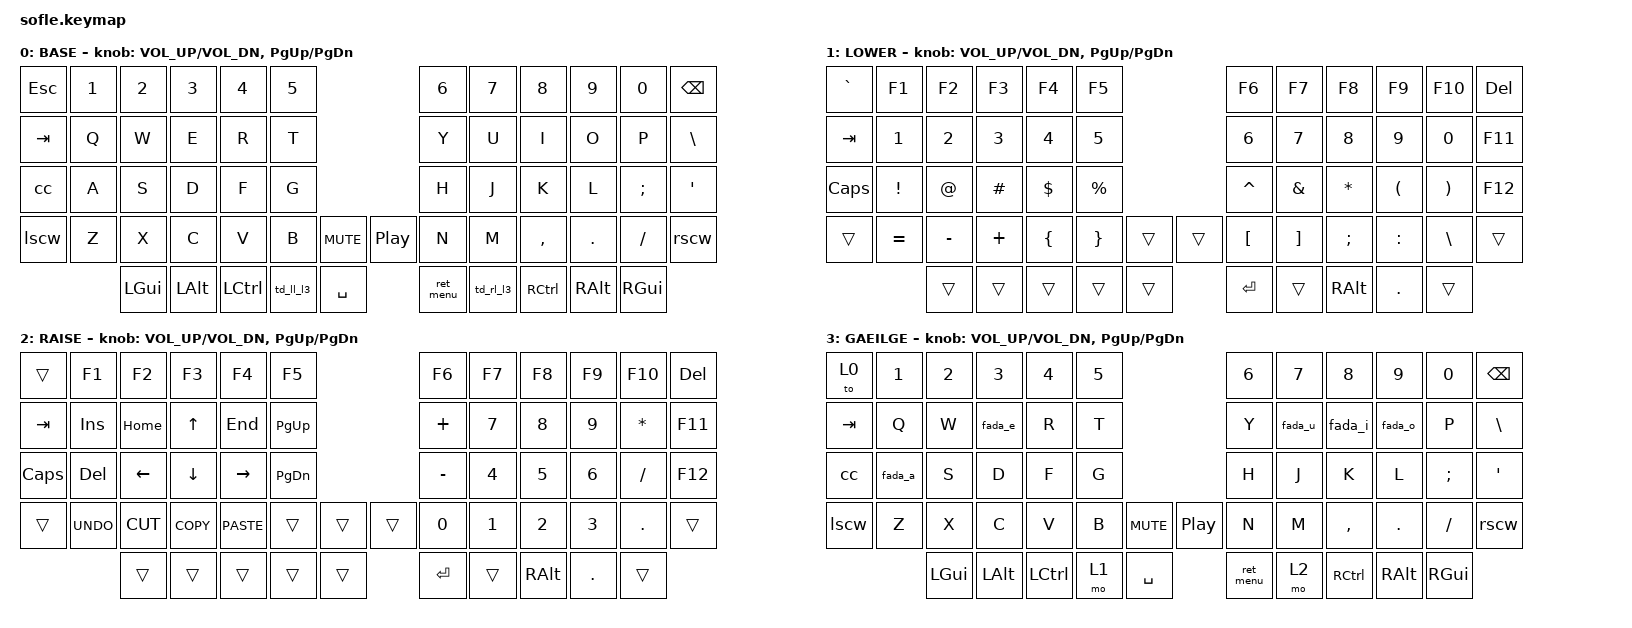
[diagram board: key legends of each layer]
/*
 * Copyright (c) 2020 The ZMK Contributors
 *
 * SPDX-License-Identifier: MIT
 */

#include <behaviors.dtsi>
#include <dt-bindings/zmk/keys.h>
#include <dt-bindings/zmk/bt.h>
#include <dt-bindings/zmk/rgb.h>
#include <dt-bindings/zmk/outputs.h>

/ {
    sensors {
        compatible = "zmk,keymap-sensors";
        sensors = <&left_encoder &right_encoder>;
        triggers-per-rotation = <30>;
    };

    macros {
        tm: tm {
            compatible = "zmk,behavior-macro";
            #binding-cells = <0>;
            bindings = <&kp LS(T) &kp M>;
        };
        cad: cad {
            compatible = "zmk,behavior-macro";
            #binding-cells = <0>;
            bindings = <&kp LC(LA(DEL))>;
        };
        slp: slp {
            compatible = "zmk,behavior-macro";
            #binding-cells = <0>;
            bindings = <&kp LG(X) &kp U &kp S>;
        };
        rst: rst {
            compatible = "zmk,behavior-macro";
            #binding-cells = <0>;
            bindings = <&kp LG(X) &kp U &kp R>;
        };
        off: off {
            compatible = "zmk,behavior-macro";
            #binding-cells = <0>;
            bindings = <&kp LG(X) &kp U &kp U>;
        };
        teams_mute: teams_mute {
            compatible = "zmk,behavior-macro";
            #binding-cells = <0>;
            bindings = <&kp LC(LS(M))>;
        };
        tab_right: tab_right {
            compatible = "zmk,behavior-macro";
            #binding-cells = <0>;
            bindings = <&kp LC(TAB)>;
        };
        tab_left: tab_left {
            compatible = "zmk,behavior-macro";
            #binding-cells = <0>;
            bindings = <&kp LC(LS(TAB))>;
        };
        close_tab: close_tab {
            compatible = "zmk,behavior-macro";
            #binding-cells = <0>;
            bindings = <&kp LC(W)>;
        };
        fada_a: fada_a {
            compatible = "zmk,behavior-macro";
            #binding-cells = <0>;
            bindings = <&kp LA(E) &kp A>;
        };
        fada_e: fada_e {
            compatible = "zmk,behavior-macro";
            #binding-cells = <0>;
            bindings = <&kp LA(E) &kp E>;
        };
        fada_i: fada_i {
            compatible = "zmk,behavior-macro";
            #binding-cells = <0>;
            bindings = <&kp LA(E) &kp I>;
        };
        fada_o: fada_o {
            compatible = "zmk,behavior-macro";
            #binding-cells = <0>;
            bindings = <&kp LA(E) &kp O>;
        };
        fada_u: fada_u {
            compatible = "zmk,behavior-macro";
            #binding-cells = <0>;
            bindings = <&kp LA(E) &kp U>;
        };
        umlaut_a: umlaut_a {
            compatible = "zmk,behavior-macro";
            #binding-cells = <0>;
            bindings = <&kp LA(U) &kp A>;
        };
        umlaut_e: umlaut_e {
            compatible = "zmk,behavior-macro";
            #binding-cells = <0>;
            bindings = <&kp LA(U) &kp E>;
        };
        umlaut_i: umlaut_i {
            compatible = "zmk,behavior-macro";
            #binding-cells = <0>;
            bindings = <&kp LA(U) &kp I>;
        };
        umlaut_o: umlaut_o {
            compatible = "zmk,behavior-macro";
            #binding-cells = <0>;
            bindings = <&kp LA(U) &kp O>;
        };
        umlaut_u: umlaut_u {
            compatible = "zmk,behavior-macro";
            #binding-cells = <0>;
            bindings = <&kp LA(U) &kp U>;
        };
        ogonek_a: ogonek_a {
            compatible = "zmk,behavior-macro";
            #binding-cells = <0>;
            bindings = <&kp LA(A)>;
        };
        ogonek_e: ogonek_e {
            compatible = "zmk,behavior-macro";
            #binding-cells = <0>;
            bindings = <&kp LA(APOS)>;
        };
        eszett: eszett {
            compatible = "zmk,behavior-macro";
            #binding-cells = <0>;
            bindings = <&kp LA(S)>;
        };
        ntilde: ntilde {
            compatible = "zmk,behavior-macro";
            #binding-cells = <0>;
            bindings = <&kp LA(N) &kp N>;
        };
    };

    combos {
        compatible = "zmk,combos";
        combo_esc {
            timeout-ms = <50>;
            key-positions = <0 1>;
            bindings = <&kp ESC>;
        };
    };

    behaviors {
        rgb_inc: rgb_inc {
            compatible = "zmk,behavior-mod-morph";
            #binding-cells = <0>;
            bindings = <&rgb_ug RGB_BRI>, <&rgb_ug RGB_SAI>;
            mods = <(MOD_LSFT|MOD_RSFT)>;
        };
        rgb_dec: rgb_dec {
            compatible = "zmk,behavior-mod-morph";
            #binding-cells = <0>;
            bindings = <&rgb_ug RGB_BRD>, <&rgb_ug RGB_SAD>;
            mods = <(MOD_LSFT|MOD_RSFT)>;
        };
        ret_menu: ret_menu {
            compatible = "zmk,behavior-mod-morph";
            #binding-cells = <0>;
            bindings = <&kp RET>, <&kp K_APP>;
            mods = <(MOD_LSFT|MOD_RSFT)>;
        };
        td_btr: td_btr {
            compatible = "zmk,behavior-tap-dance";
            #binding-cells = <0>;
            tapping-term-ms = <200>;
            bindings = <&bt BT_NXT>, <&bt BT_PRV>;
        };
        cc: cc {
            compatible = "zmk,behavior-tap-dance";
            #binding-cells = <0>;
            tapping-term-ms = <200>;
            bindings = <&kp LCTRL>, <&caps_word>;
        };
        clcw: clcw {
            compatible = "zmk,behavior-tap-dance";
            #binding-cells = <0>;
            tapping-term-ms = <200>;
            bindings = <&kp CAPS>, <&caps_word>;
        };
        lscw: lscw {
            compatible = "zmk,behavior-tap-dance";
            #binding-cells = <0>;
            tapping-term-ms = <200>;
            bindings = <&kp LSHFT>, <&caps_word>;
        };
        rscw: rscw {
            compatible = "zmk,behavior-tap-dance";
            #binding-cells = <0>;
            tapping-term-ms = <200>;
            bindings = <&kp RSHFT>, <&caps_word>;
        };
        stm: stm {
            compatible = "zmk,behavior-tap-dance";
            #binding-cells = <0>;
            tapping-term-ms = <200>;
            bindings = <&kp LS(T)>, <&tm>;
        };
        pwr: pwr {
            compatible = "zmk,behavior-tap-dance";
            #binding-cells = <0>;
            tapping-term-ms = <200>;
            bindings = <&slp>, <&rst>, <&off>;
        };
        pscode: pscode {
            compatible = "zmk,behavior-tap-dance";
            #binding-cells = <0>;
            tapping-term-ms = <200>;
            bindings = <&kp PSCRN>, <&kp LS(PSCRN)>;
        };
        td_ll_l3: td_ll_l3 {
            compatible = "zmk,behavior-tap-dance";
            #binding-cells = <0>;
            tapping-term-ms = <200>;
            bindings = <&mo 1>, <&to 3>;
        };
        td_rl_l3: td_rl_l3 {
            compatible = "zmk,behavior-tap-dance";
            #binding-cells = <0>;
            tapping-term-ms = <200>;
            bindings = <&mo 2>, <&to 3>;
        };
        td_sp_a: td_sp_a {
            compatible = "zmk,behavior-tap-dance";
            #binding-cells = <0>;
            tapping-term-ms = <200>;
            bindings = <&kp A>, <&fada_a>;
        };
        td_sp_e: td_sp_e {
            compatible = "zmk,behavior-tap-dance";
            #binding-cells = <0>;
            tapping-term-ms = <200>;
            bindings = <&kp E>, <&fada_e>;
        };
        td_sp_i: td_sp_i {
            compatible = "zmk,behavior-tap-dance";
            #binding-cells = <0>;
            tapping-term-ms = <200>;
            bindings = <&kp I>, <&fada_i>;
        };
        td_sp_o: td_sp_o {
            compatible = "zmk,behavior-tap-dance";
            #binding-cells = <0>;
            tapping-term-ms = <200>;
            bindings = <&kp O>, <&fada_o>;
        };
        td_sp_u: td_sp_u {
            compatible = "zmk,behavior-tap-dance";
            #binding-cells = <0>;
            tapping-term-ms = <200>;
            bindings = <&kp U>, <&fada_u>;
        };
        td_sp_n: td_sp_n {
            compatible = "zmk,behavior-tap-dance";
            #binding-cells = <0>;
            tapping-term-ms = <200>;
            bindings = <&kp N>, <&ntilde>;
        };
        td_sp_s: td_sp_s {
            compatible = "zmk,behavior-tap-dance";
            #binding-cells = <0>;
            tapping-term-ms = <200>;
            bindings = <&kp S>, <&eszett>;
        };
        td_sp_z: td_sp_z {
            compatible = "zmk,behavior-tap-dance";
            #binding-cells = <0>;
            tapping-term-ms = <200>;
            bindings = <&kp Z>, <&ogonek_a>;
        };
        td_lt: td_lt {
            compatible = "zmk,behavior-tap-dance";
            #binding-cells = <0>;
            tapping-term-ms = <200>;
            bindings = <&kp LT>, <&kp LS(COMMA)>;
        };
        td_gt: td_gt {
            compatible = "zmk,behavior-tap-dance";
            #binding-cells = <0>;
            tapping-term-ms = <200>;
            bindings = <&kp GT>, <&kp LS(DOT)>;
        };
        lwin_cad: lwin_cad {
            compatible = "zmk,behavior-mod-morph";
            #binding-cells = <0>;
            bindings = <&kp LGUI>, <&cad>;
            mods = <(MOD_LCTL|MOD_LALT)>;
        };
    };

    keymap {
        compatible = "zmk,keymap";

        default_layer {
            label = "BASE";
            bindings = <
    &kp ESC    &kp N1  &kp N2    &kp N3   &kp N4   &kp N5                      &kp N6  &kp N7    &kp N8    &kp N9   &kp N0    &kp BSPC
    &kp TAB    &kp Q   &kp W     &kp E    &kp R    &kp T                       &kp Y   &kp U     &kp I     &kp O    &kp P     &kp BSLH
    &cc        &kp A   &kp S     &kp D    &kp F    &kp G                       &kp H   &kp J     &kp K     &kp L    &kp SEMI  &kp APOS
    &lscw      &kp Z   &kp X     &kp C    &kp V    &kp B   &kp C_MUTE  &kp C_PP  &kp N   &kp M     &kp COMMA &kp DOT  &kp FSLH  &rscw
                       &kp LGUI  &kp LALT &kp LCTL &td_ll_l3 &kp SPACE     &ret_menu &td_rl_l3 &kp RCTL  &kp RALT  &kp RGUI
            >;
            sensor-bindings = <&inc_dec_kp C_VOL_UP C_VOL_DN &inc_dec_kp PG_UP PG_DN>;
        };

        lower_layer {
            label = "LOWER";
            bindings = <
    &kp GRAVE  &kp F1    &kp F2    &kp F3    &kp F4    &kp F5                        &kp F6    &kp F7    &kp F8    &kp F9    &kp F10   &kp DEL
    &kp TAB    &kp N1    &kp N2    &kp N3    &kp N4    &kp N5                        &kp N6    &kp N7    &kp N8    &kp N9    &kp N0    &kp F11
    &kp CAPS   &kp EXCL  &kp AT    &kp HASH  &kp DLLR  &kp PRCNT                     &kp CARET &kp AMPS  &kp ASTRK &kp LPAR  &kp RPAR  &kp F12
    &trans     &kp EQUAL &kp MINUS &kp PLUS  &kp LBRC  &kp RBRC  &trans    &trans    &kp LBKT  &kp RBKT  &kp SEMI  &kp COLON &kp BSLH  &trans
                         &trans    &trans    &trans    &trans    &trans    &kp RET   &trans    &kp RALT  &kp DOT   &trans
            >;
            sensor-bindings = <&inc_dec_kp C_VOL_UP C_VOL_DN &inc_dec_kp PG_UP PG_DN>;
        };

        raise_layer {
            label = "RAISE";
            bindings = <
    &trans     &kp F1    &kp F2    &kp F3    &kp F4    &kp F5                        &kp F6    &kp F7    &kp F8    &kp F9    &kp F10   &kp DEL
    &kp TAB    &kp INS   &kp HOME  &kp UP    &kp END   &kp PG_UP                     &kp PLUS  &kp N7    &kp N8    &kp N9    &kp ASTRK &kp F11
    &kp CAPS   &kp DEL   &kp LEFT  &kp DOWN  &kp RIGHT &kp PG_DN                     &kp MINUS &kp N4    &kp N5    &kp N6    &kp FSLH  &kp F12
    &trans     &kp K_UNDO  &kp K_CUT   &kp K_COPY  &kp K_PASTE &trans    &trans    &trans    &kp N0    &kp N1    &kp N2    &kp N3    &kp DOT   &trans
                         &trans    &trans    &trans    &trans    &trans    &kp RET   &trans    &kp RALT  &kp DOT   &trans
            >;
            sensor-bindings = <&inc_dec_kp C_VOL_UP C_VOL_DN &inc_dec_kp PG_UP PG_DN>;
        };

        gaeilge_layer {
            label = "GAEILGE";
            bindings = <
    &to 0      &kp N1    &kp N2    &kp N3    &kp N4    &kp N5                        &kp N6    &kp N7    &kp N8    &kp N9    &kp N0    &kp BSPC
    &kp TAB    &kp Q     &kp W     &fada_e   &kp R     &kp T                         &kp Y     &fada_u   &fada_i   &fada_o   &kp P     &kp BSLH
    &cc        &fada_a   &kp S     &kp D     &kp F     &kp G                         &kp H     &kp J     &kp K     &kp L     &kp SEMI  &kp APOS
    &lscw      &kp Z     &kp X     &kp C     &kp V     &kp B     &kp C_MUTE  &kp C_PP  &kp N     &kp M     &kp COMMA &kp DOT   &kp FSLH  &rscw
                         &kp LGUI  &kp LALT  &kp LCTL  &mo 1     &kp SPACE   &ret_menu &mo 2     &kp RCTL  &kp RALT  &kp RGUI
            >;
            sensor-bindings = <&inc_dec_kp C_VOL_UP C_VOL_DN &inc_dec_kp PG_UP PG_DN>;
        };
    };
};
